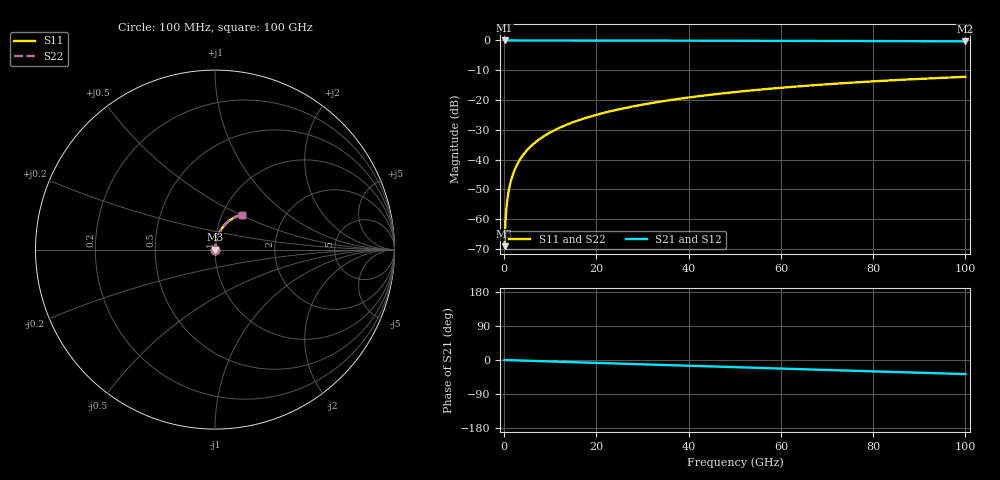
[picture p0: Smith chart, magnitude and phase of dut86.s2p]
! Touchstone file exported from HFSS 2026.1.0
!  File:  C:/ffzhzh/LocalFiles/Ansys_Project_Files/temp_train_TSV_86_1783505526_31944.aedt
!  Generated:  06:13:27 PM Jul  8, 2026
!  Design:  TSV
!  Project:  temp_train_TSV_86_1783505526_31944
! Variables:
!  h_bsmrdl = 2um
!  h_ox = 20um
!  h_rdl = 5um
!  h_sub = 62.25um
!  h_tmrdl = 5um
!  h_tsv = 62.25um
!  h_via = 3um
!  l_bsmrdl = 300um
!  l_sub = 415.38um
!  l_tmrdl = 200um
!  m_sub = 200um
!  pitch = 55.76um
!  r_tsv = 7.69um
!  s_tmrdl = 10um
!  w_bsmrdl = 18um
!  w_sub = 500um
!  w_tmrdl = 12um
!  x_tsv_center1 = 206um
!  x_tsv_center2 = 524um
!  x_tsv_center3 = 736um
!  x_tsv_center4 = 1054um
!  x_tsv_center5 = 1266um
!  x_tsv_center6 = 1584um
# GHz S MA R 50.000000
! Terminal data exported
! Port[1] = TSV1_1_T1
! Port[2] = TSV1_1_T2
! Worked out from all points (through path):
!   1000 points, 100 MHz to 100 GHz, reference 50 ohm
!   highest |S21| = 0.00 dB at 100 MHz (marker M1); lowest = -0.3 dB at 100 GHz (marker M2)
!   group delay of S21, straight-line fit = 1.03 ps
!   lowest |S11| = -69.0 dB at 100 MHz (marker M3), VSWR 1.00, Z = 50 + j0.0318 ohm
!   |S11| at or under -10 dB: start of sweep to end of sweep
!   |S22| runs from -69.0 to -12.2 dB; largest |S21 - S12| = 4.4e-15
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0.1  0.0003536 64.1  0.9998 -0.0  0.9998 -0.0  0.0003536 64.1
! Gamma 0 0 0 0
! Port Impedance 50 0 50 0
0.3  0.0009573 79.1  0.9998 -0.1  0.9998 -0.1  0.0009573 79.1
0.7  0.002153 83.6  0.9998 -0.3  0.9998 -0.3  0.002153 83.6
0.8  0.002449 84.0  0.9998 -0.3  0.9998 -0.3  0.002449 84.0
1  0.00304 84.6  0.9997 -0.4  0.9997 -0.4  0.00304 84.6
1.3  0.003922 85.2  0.9997 -0.5  0.9997 -0.5  0.003922 85.2
1.7  0.005091 85.5  0.9996 -0.7  0.9996 -0.7  0.005091 85.5
2.3  0.006828 85.7  0.9996 -0.9  0.9996 -0.9  0.006828 85.7
3  0.008835 85.8  0.9995 -1.2  0.9995 -1.2  0.008835 85.8
3.8  0.01112 85.8  0.9994 -1.5  0.9994 -1.5  0.01112 85.8
4.8  0.01395 85.7  0.9993 -1.9  0.9993 -1.9  0.01395 85.7
6  0.01735 85.5  0.9992 -2.3  0.9992 -2.3  0.01735 85.5
8.8  0.02526 84.8  0.9989 -3.4  0.9989 -3.4  0.02526 84.8
12.4  0.03536 83.7  0.9984 -4.8  0.9984 -4.8  0.03536 83.7
16.8  0.04762 82.2  0.9977 -6.4  0.9977 -6.4  0.04762 82.2
24.2  0.06803 79.6  0.9963 -9.2  0.9963 -9.2  0.06803 79.6
33.4  0.09293 76.3  0.9941 -12.7  0.9941 -12.7  0.09293 76.3
41.2  0.1135 73.5  0.9918 -15.6  0.9918 -15.6  0.1135 73.5
50.1  0.1363 70.2  0.9888 -19.0  0.9888 -19.0  0.1363 70.2
66.7  0.1765 64.2  0.9821 -25.1  0.9821 -25.1  0.1765 64.2
83.4  0.2132 58.2  0.9746 -31.2  0.9746 -31.2  0.2132 58.2
100  0.2454 52.3  0.9667 -37.2  0.9667 -37.2  0.2454 52.3
